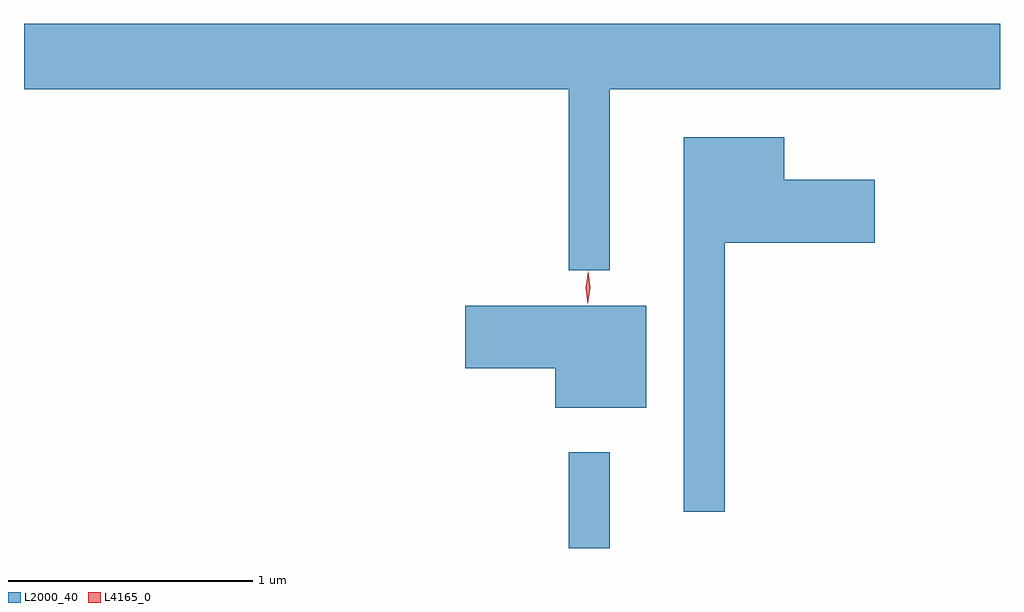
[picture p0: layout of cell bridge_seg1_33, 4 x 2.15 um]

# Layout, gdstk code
import gdstk
lib = gdstk.Library(unit=1e-6, precision=1e-09)
def R(c, l, rs):  # rectangles x0, y0, x1, y1
    for r in rs: c.add(gdstk.rectangle(r[:2], r[2:], *l))
def P(c, l, *ps):  # polygons
    for p in ps: c.add(gdstk.Polygon(p, *l))
L2000_40 = (2000, 40)
L4165_0 = (4165, 0)

bridge_seg1_33 = lib.new_cell('bridge_seg1_33')
R(bridge_seg1_33, L2000_40, [(1620.611,842.194,1620.779,842.588)])
P(bridge_seg1_33, L2000_40, [(1620.779,844.076),(1622.378,844.076),(1622.378,844.344),(1618.378,844.344),(1618.378,844.076),(1620.611,844.076),(1620.611,843.333),(1620.779,843.333)],
  [(1621.249,843.446),(1621.864,843.446),(1621.864,843.704),(1621.494,843.704),(1621.494,843.879),(1621.081,843.879),(1621.081,842.343),(1621.249,842.343)],
  [(1620.929,843.189),(1620.186,843.189),(1620.186,842.931),(1620.556,842.931),(1620.556,842.771),(1620.929,842.771)])
P(bridge_seg1_33, L4165_0, [(1620.689,843.2),(1620.688,843.201),(1620.68,843.264),(1620.69,843.326),(1620.69,843.327),(1620.691,843.326),(1620.699,843.263),(1620.689,843.201)],
  [(1620.688,843.194),(1620.68,843.262),(1620.69,843.33),(1620.69,843.33),(1620.691,843.33),(1620.699,843.262),(1620.689,843.194),(1620.689,843.194)])

lib.write_gds('bridge_seg1_33.gds')
